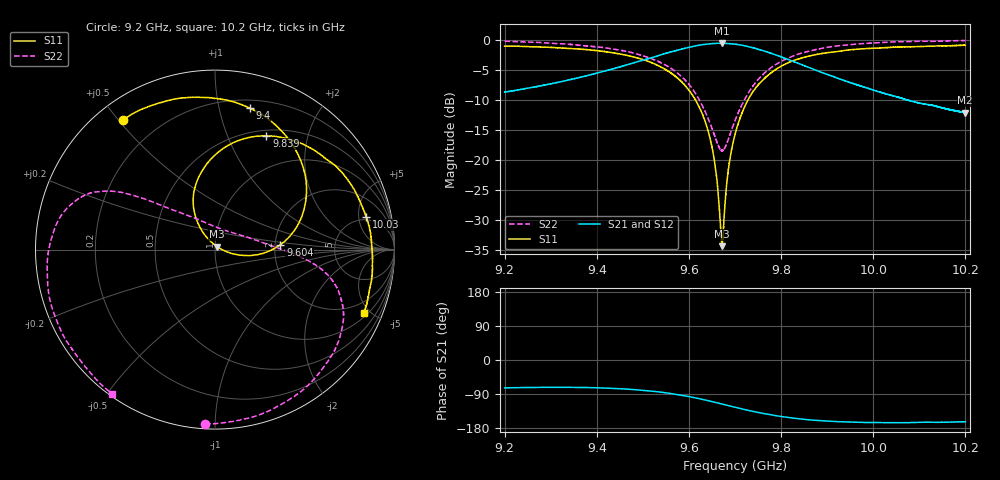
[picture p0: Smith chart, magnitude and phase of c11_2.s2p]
!Agilent Technologies,N5242A,MY51221714,A.09.90.19
!Agilent N5242A: A.09.90.19
!Date: Saturday, December 30, 2023 10:41:54
!Correction: S11(Full 2 Port(1,2))
!S21(Full 2 Port(1,2))
!S12(Full 2 Port(1,2))
!S22(Full 2 Port(1,2))
!S2P File: Measurements: S11, S21, S12, S22:
# Hz S  dB  R 50
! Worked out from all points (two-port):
!   16001 points, 9.2 GHz to 10.2 GHz, reference 50 ohm
!   highest |S21| = -0.58 dB at 9.672 GHz (marker M1); lowest = -12.1 dB at 10.2 GHz (marker M2)
!   |S21| within 3 dB of the highest: 9.491478 GHz to 9.491675 GHz (196.9 kHz wide, 0.00207 % of centre); 9.492 GHz to 9.825 GHz (333.7 MHz wide, 3.45 % of centre)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
!   lowest |S11| = -34.3 dB at 9.672 GHz (marker M3), VSWR 1.04, Z = 50.9 + j1.73 ohm
!   |S11| at or under -10 dB: 9.614 GHz to 9.728 GHz (113.9 MHz wide, 1.18 % of centre)
!   |S22| runs from -18.5 to -0.1 dB; largest |S21 - S12| = 0.014
!   S11 on the Smith chart (normalised r, x): 9.2 GHz: 0.08, +0.51; 9.4 GHz: 0.27, +1.24; 9.604 GHz: 2.14, +0.14; 9.839 GHz: 0.57, +1.39; 10.03 GHz: 4.44, +6.26; 10.2 GHz: 1.24, -4.61
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9.2e9  -1.06 125.4  -8.70 -73.5  -8.68 -74.4  -0.23 -93.2
9.275188e9  -1.20 108.1  -7.70 -72.4  -7.68 -73.0  -0.46 -72.7
9.366688e9  -1.57 85.4  -6.20 -72.5  -6.16 -73.3  -0.94 -49.0
9.400188e9  -1.80 76.3  -5.53 -73.4  -5.51 -74.2  -1.17 -40.7
9.466688e9  -2.61 56.5  -4.15 -76.9  -4.13 -77.7  -1.98 -26.1
9.533375e9  -4.30 33.3  -2.64 -84.0  -2.64 -84.7  -3.61 -13.7
9.603562e9  -8.74 4.3  -1.21 -97.3  -1.18 -98.1  -7.74 -1.8
9.646938e9  -16.74 -12.2  -0.67 -108.9  -0.66 -109.6  -14.09 19.7
9.657812e9  -21.42 -12.4  -0.60 -112.0  -0.61 -112.7  -16.41 34.3
9.668688e9  -31.24 14.4  -0.58 -115.3  -0.58 -115.9  -18.28 59.8
9.672062e9  -34.29 61.6  -0.59 -116.3  -0.57 -117.0  -18.41 70.2
9.672438e9  -33.55 63.8  -0.58 -116.4  -0.58 -117.1  -18.46 71.5
9.686062e9  -21.32 124.3  -0.64 -120.4  -0.61 -121.2  -16.39 106.2
9.7e9  -15.78 123.1  -0.73 -124.6  -0.71 -125.4  -13.43 123.5
9.749875e9  -7.55 102.0  -1.57 -138.3  -1.55 -139.1  -6.64 143.7
9.839e9  -3.15 65.7  -3.96 -155.1  -3.96 -155.8  -2.34 155.7
9.866688e9  -2.60 56.2  -4.80 -158.4  -4.79 -159.2  -1.78 159.8
9.950062e9  -1.67 32.1  -7.11 -163.9  -7.10 -164.5  -0.81 175.3
1.003069e10  -1.30 12.2  -9.06 -165.3  -9.05 -166.2  -0.40 -167.1
1.003338e10  -1.28 11.6  -9.12 -165.3  -9.10 -166.2  -0.39 -166.5
1.019925e10  -0.91 -22.8  -12.13 -163.0  -12.11 -163.9  -0.13 -125.7
1.02e10  -0.91 -22.9  -12.13 -163.1  -12.12 -163.8  -0.12 -125.6
